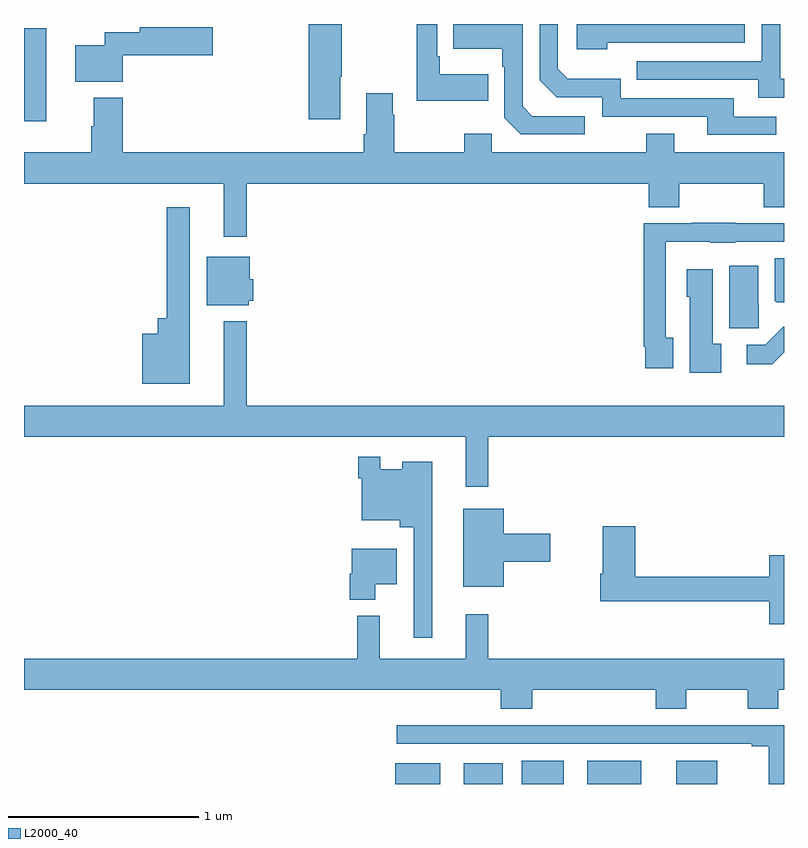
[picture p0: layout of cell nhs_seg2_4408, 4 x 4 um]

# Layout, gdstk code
import gdstk
lib = gdstk.Library(unit=1e-6, precision=1e-09)
def R(c, l, rs):  # rectangles x0, y0, x1, y1
    for r in rs: c.add(gdstk.rectangle(r[:2], r[2:], *l))
def P(c, l, *ps):  # polygons
    for p in ps: c.add(gdstk.Polygon(p, *l))
L2000_40 = (2000, 40)

nhs_seg2_4408 = lib.new_cell('nhs_seg2_4408')
R(nhs_seg2_4408, L2000_40, [(350.954,653.8,351.19,653.908), (351.314,653.8,351.52,653.908), (351.62,653.8,351.841,653.923), (351.965,653.8,352.249,653.923), (352.433,653.8,352.648,653.923), (349,657.288,349.117,657.778)])
P(nhs_seg2_4408, L2000_40, [(352.07,657.702),(352.794,657.702),(352.794,657.8),(352.685,657.8),(352.685,657.798),(351.909,657.798),(351.909,657.668),(352.07,657.668)],
  [(353,657.513),(352.98,657.513),(352.98,657.8),(352.884,657.8),(352.884,657.603),(352.225,657.603),(352.225,657.507),(352.865,657.507),(352.865,657.413),(353,657.413)],
  [(351.443,657.535),(351.187,657.535),(351.187,657.631),(351.174,657.631),(351.174,657.8),(351.066,657.8),(351.066,657.395),(351.443,657.395)],
  [(351.952,657.315),(351.675,657.315),(351.624,657.366),(351.624,657.8),(351.259,657.8),(351.259,657.671),(351.516,657.671),(351.516,657.575),(351.528,657.575),(351.528,657.306),(351.615,657.219),(351.952,657.219)],
  [(350.665,657.523),(350.673,657.523),(350.673,657.8),(350.498,657.8),(350.498,657.3),(350.665,657.3)],
  [(352.96,657.312),(352.735,657.312),(352.735,657.408),(352.14,657.408),(352.14,657.511),(351.863,657.511),(351.81,657.564),(351.81,657.8),(351.714,657.8),(351.714,657.504),(351.804,657.414),(352.044,657.414),(352.044,657.312),(352.595,657.312),(352.595,657.216),(352.96,657.216)],
  [(349.521,657.635),(349.993,657.635),(349.993,657.782),(349.608,657.782),(349.608,657.757),(349.425,657.757),(349.425,657.688),(349.271,657.688),(349.271,657.497),(349.521,657.497)],
  [(350.173,656.96),(352.289,656.96),(352.289,656.836),(352.449,656.836),(352.449,656.96),(352.894,656.96),(352.894,656.836),(353,656.836),(353,657.124),(352.423,657.124),(352.423,657.223),(352.276,657.223),(352.276,657.124),(351.462,657.124),(351.462,657.223),(351.316,657.223),(351.316,657.124),(350.949,657.124),(350.949,657.323),(350.941,657.323),(350.941,657.436),(350.801,657.436),(350.801,657.22),(350.789,657.22),(350.789,657.124),(349.52,657.124),(349.52,657.412),(349.367,657.412),(349.367,657.263),(349.355,657.263),(349.355,657.124),(349,657.124),(349,656.96),(350.051,656.96),(350.051,656.679),(350.173,656.679)],
  [(349.873,656.836),(349.752,656.836),(349.752,656.251),(349.703,656.251),(349.703,656.17),(349.622,656.17),(349.622,655.907),(349.873,655.907)],
  [(352.417,656.15),(352.377,656.15),(352.377,656.654),(352.611,656.654),(352.611,656.648),(352.743,656.648),(352.743,656.655),(353,656.655),(353,656.751),(352.743,656.751),(352.743,656.753),(352.511,656.753),(352.511,656.751),(352.261,656.751),(352.261,656.101),(352.269,656.101),(352.269,655.989),(352.417,655.989)],
  [(350.184,656.343),(350.206,656.343),(350.206,656.457),(350.188,656.457),(350.188,656.575),(349.961,656.575),(349.961,656.321),(350.184,656.321)],
  [(353,656.566),(352.952,656.566),(352.952,656.344),(352.96,656.336),(353,656.336)],
  [(352.868,656.322),(352.864,656.322),(352.864,656.527),(352.712,656.527),(352.712,656.199),(352.868,656.199)],
  [(352.669,656.118),(352.624,656.118),(352.624,656.509),(352.487,656.509),(352.487,656.364),(352.505,656.364),(352.505,655.964),(352.669,655.964)],
  [(351.443,655.628),(353,655.628),(353,655.792),(350.173,655.792),(350.173,656.236),(350.051,656.236),(350.051,655.792),(349,655.792),(349,655.628),(351.326,655.628),(351.326,655.365),(351.443,655.365)],
  [(353,656.072),(353,656.207),(352.997,656.207),(352.902,656.112),(352.803,656.112),(352.803,656.01),(352.938,656.01)],
  [(351.148,655.495),(350.99,655.495),(350.99,655.456),(350.874,655.456),(350.874,655.522),(350.758,655.522),(350.758,655.409),(350.778,655.409),(350.778,655.187),(350.978,655.187),(350.978,655.151),(351.051,655.151),(351.051,654.57),(351.148,654.57)],
  [(351.526,654.971),(351.769,654.971),(351.769,655.118),(351.526,655.118),(351.526,655.249),(351.311,655.249),(351.311,654.839),(351.526,654.839)],
  [(353,655.003),(352.922,655.003),(352.922,654.89),(352.217,654.89),(352.217,655.156),(352.046,655.156),(352.046,654.907),(352.034,654.907),(352.034,654.762),(352.922,654.762),(352.922,654.642),(353,654.642)],
  [(350.848,654.851),(350.962,654.851),(350.962,655.039),(350.726,655.039),(350.726,654.906),(350.714,654.906),(350.714,654.77),(350.848,654.77)],
  [(351.674,654.296),(352.325,654.296),(352.325,654.197),(352.485,654.197),(352.485,654.296),(352.81,654.296),(352.81,654.197),(352.97,654.197),(352.97,654.296),(353,654.296),(353,654.46),(351.443,654.46),(351.443,654.694),(351.326,654.694),(351.326,654.46),(350.873,654.46),(350.873,654.685),(350.755,654.685),(350.755,654.46),(349,654.46),(349,654.296),(351.509,654.296),(351.509,654.197),(351.674,654.197)],
  [(353,654.108),(352.721,654.108),(352.721,654.11),(352.573,654.11),(352.573,654.108),(352.241,654.108),(352.241,654.11),(351.757,654.11),(351.757,654.108),(351.425,654.108),(351.425,654.11),(350.961,654.11),(350.961,654.012),(352.829,654.012),(352.829,654),(352.921,654),(352.921,653.8),(353,653.8)])

lib.write_gds('nhs_seg2_4408.gds')
